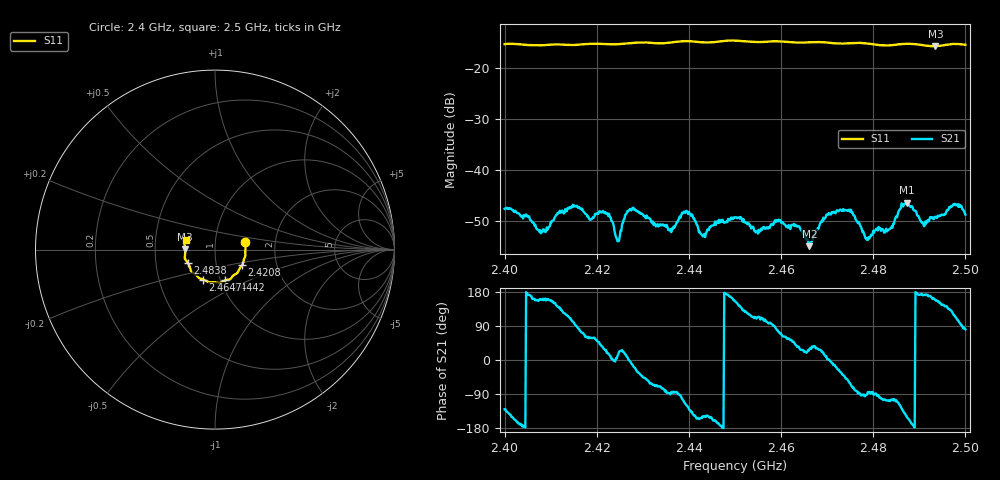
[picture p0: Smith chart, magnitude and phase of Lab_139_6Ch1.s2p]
# Hz S RI R 50
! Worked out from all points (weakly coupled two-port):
!   601 points, 2.4 GHz to 2.5 GHz, reference 50 ohm
!   highest |S21| = -46.43 dB at 2.4873 GHz (marker M1); lowest = -55.0 dB at 2.4662 GHz (marker M2)
!   lowest |S11| = -15.6 dB at 2.4935 GHz (marker M3), VSWR 1.40, Z = 35.8 + j0.204 ohm
!   |S11| at or under -10 dB: start of sweep to end of sweep
!   S12 and S22 are empty: the file has one direction only
!   S11 on the Smith chart (normalised r, x): 2.4 GHz: 1.40, +0.12; 2.4208 GHz: 1.33, -0.24; 2.4442 GHz: 1.05, -0.37; 2.4647 GHz: 0.83, -0.29; 2.4838 GHz: 0.73, -0.11; 2.5 GHz: 0.72, +0.08
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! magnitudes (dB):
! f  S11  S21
! 2.4 GHz  -15.2  -47.6
! 2.4083 GHz  -15.4  -51.7
! 2.4167 GHz  -15.3  -47.8
! 2.4208 GHz  -15.2  -48.3
! 2.4245 GHz  -15.2  -54.0
! 2.4275 GHz  -15.0  -48.0
! 2.4333 GHz  -15.1  -51.1
! 2.4395 GHz  -14.6  -48.0
! 2.4442 GHz  -14.9  -51.6
! 2.45 GHz  -14.5  -49.3
! 2.4647 GHz  -14.9  -52.4
! 2.4662 GHz  -14.9  -55.0
! 2.4667 GHz  -14.8  -54.0
! 2.4725 GHz  -15.1  -48.1
! 2.4752 GHz  -15.0  -47.8
! 2.4787 GHz  -15.1  -53.8
! 2.4833 GHz  -15.5  -51.8
! 2.4838 GHz  -15.4  -51.4
! 2.4873 GHz  -15.1  -46.4
! 2.4907 GHz  -15.4  -50.3
! 2.4935 GHz  -15.6  -49.2
! 2.5 GHz  -15.3  -48.8
